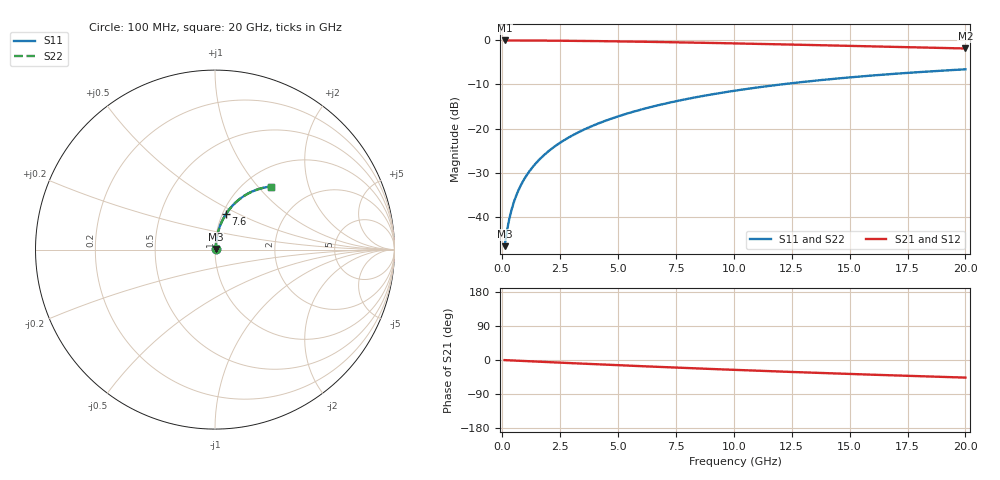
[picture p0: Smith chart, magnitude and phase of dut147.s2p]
! Touchstone file exported from HFSS 2024.1.0
!  File:  C:/UserFiles/LocalFiles/RDL_TSV_Batchsim/temp_RDL_top_147_1778684981.aedt
!  Generated:  11:11:50 PM May 13, 2026
!  Design:  RDL_top
!  Project:  temp_RDL_top_147_1778684981
!  Setup:  Setup1
!  Solution:  Sweep
! Variables:
!  dtsv = 10.80580581um
!  hbump = 3um
!  htsv = 58.05um
!  ldown = 100um
!  lrdl = 640.3um
!  p = 40
!  p1 = 49.87um
!  rhole = 1um
!  t = 450um
!  tdown = 3.915915916um
!  trdl = 4.2um
!  wdown = 15.38538539um
!  wrdl = 15.3um
# GHz S MA R 50.000000
! Terminal data exported
! Port[1] = Box2_T1
! Port[2] = Box2_T2
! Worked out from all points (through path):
!   200 points, 100 MHz to 20 GHz, reference 50 ohm
!   highest |S21| = -0.03 dB at 100 MHz (marker M1); lowest = -1.9 dB at 20 GHz (marker M2)
!   group delay of S21, straight-line fit = 6.43 ps
!   lowest |S11| = -46.7 dB at 100 MHz (marker M3), VSWR 1.01, Z = 50.4 + j0.293 ohm
!   |S11| at or under -10 dB: start of sweep to 12.05 GHz
!   |S22| runs from -46.7 to -6.6 dB; largest |S21 - S12| = 2.1e-14
!   S11 on the Smith chart (normalised r, x): 100 MHz: 1.01, +0.01; 7.6 GHz: 1.04, +0.43; 20 GHz: 1.30, +1.17
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0.1  0.004644 38.7  0.9964 -0.3  0.9964 -0.3  0.004644 38.7
! Gamma 0 0 0 0
! Port Impedance 50 0 50 0
0.2  0.006874 57.0  0.9962 -0.6  0.9962 -0.6  0.006874 57.0
0.3  0.009412 65.5  0.9961 -0.9  0.9961 -0.9  0.009412 65.5
0.4  0.01203 70.2  0.9959 -1.1  0.9959 -1.1  0.01203 70.2
0.5  0.01468 73.2  0.9958 -1.4  0.9958 -1.4  0.01468 73.2
0.6  0.01735 75.3  0.9956 -1.7  0.9956 -1.7  0.01735 75.3
0.8  0.02273 77.9  0.9952 -2.3  0.9952 -2.3  0.02273 77.9
1.1  0.03086 80.0  0.9946 -3.1  0.9946 -3.1  0.03086 80.0
1.5  0.04177 81.1  0.9935 -4.2  0.9935 -4.2  0.04177 81.1
1.8  0.04998 81.4  0.9925 -5.1  0.9925 -5.1  0.04998 81.4
2.1  0.05819 81.5  0.9913 -5.9  0.9913 -5.9  0.05819 81.5
2.7  0.07463 81.2  0.9885 -7.5  0.9885 -7.5  0.07463 81.2
3.5  0.09652 80.2  0.9839 -9.7  0.9839 -9.7  0.09652 80.2
4.2  0.1156 79.2  0.9791 -11.6  0.9791 -11.6  0.1156 79.2
5  0.1373 77.8  0.9729 -13.7  0.9729 -13.7  0.1373 77.8
5.9  0.1616 76.2  0.9651 -16.0  0.9651 -16.0  0.1616 76.2
6.8  0.1856 74.5  0.9567 -18.3  0.9567 -18.3  0.1856 74.5
7.6  0.2066 72.9  0.9488 -20.3  0.9488 -20.3  0.2066 72.9
10.1  0.27 67.8  0.9221 -26.2  0.9221 -26.2  0.2701 67.8
13.4  0.3464 61.0  0.8843 -33.5  0.8843 -33.5  0.3465 61.0
16.7  0.4129 54.5  0.8457 -40.2  0.8457 -40.2  0.413 54.5
20  0.4691 48.5  0.808 -46.4  0.808 -46.4  0.4692 48.5
